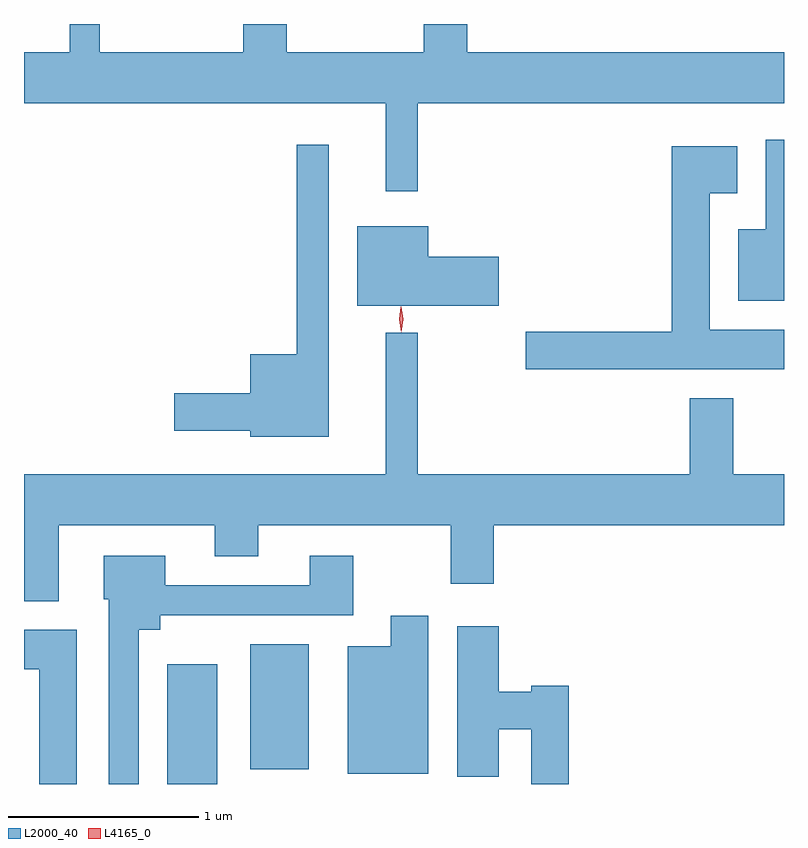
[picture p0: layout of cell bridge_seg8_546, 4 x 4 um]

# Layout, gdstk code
import gdstk
lib = gdstk.Library(unit=1e-6, precision=1e-09)
def R(c, l, rs):  # rectangles x0, y0, x1, y1
    for r in rs: c.add(gdstk.rectangle(r[:2], r[2:], *l))
def P(c, l, *ps):  # polygons
    for p in ps: c.add(gdstk.Polygon(p, *l))
L2000_40 = (2000, 40)
L4165_0 = (4165, 0)

bridge_seg8_546 = lib.new_cell('bridge_seg8_546')
R(bridge_seg8_546, L2000_40, [(562.291,1868.353,562.554,1868.984), (562.726,1868.431,563.034,1869.089)])
P(bridge_seg8_546, L2000_40, [(563.609,1871.936),(565.536,1871.936),(565.536,1872.204),(563.869,1872.204),(563.869,1872.353),(563.641,1872.353),(563.641,1872.204),(562.919,1872.204),(562.919,1872.353),(562.691,1872.353),(562.691,1872.204),(561.934,1872.204),(561.934,1872.353),(561.776,1872.353),(561.776,1872.204),(561.536,1872.204),(561.536,1871.936),(563.441,1871.936),(563.441,1871.473),(563.609,1871.473)],
  [(565.536,1871.744),(565.441,1871.744),(565.441,1871.274),(565.296,1871.274),(565.296,1870.896),(565.536,1870.896)],
  [(563.139,1871.718),(562.971,1871.718),(562.971,1870.614),(562.726,1870.614),(562.726,1870.409),(562.326,1870.409),(562.326,1870.211),(562.726,1870.211),(562.726,1870.181),(563.139,1870.181)],
  [(565.536,1870.744),(565.144,1870.744),(565.144,1871.461),(565.289,1871.461),(565.289,1871.709),(564.946,1871.709),(564.946,1870.734),(564.176,1870.734),(564.176,1870.536),(565.536,1870.536)],
  [(564.034,1871.129),(563.664,1871.129),(563.664,1871.289),(563.291,1871.289),(563.291,1870.871),(564.034,1870.871)],
  [(561.719,1869.716),(562.541,1869.716),(562.541,1869.551),(562.769,1869.551),(562.769,1869.716),(563.781,1869.716),(563.781,1869.406),(564.009,1869.406),(564.009,1869.716),(565.536,1869.716),(565.536,1869.984),(565.269,1869.984),(565.269,1870.384),(565.041,1870.384),(565.041,1869.984),(563.609,1869.984),(563.609,1870.728),(563.441,1870.728),(563.441,1869.984),(561.536,1869.984),(561.536,1869.316),(561.719,1869.316)],
  [(562.139,1869.166),(562.254,1869.166),(562.254,1869.241),(563.269,1869.241),(563.269,1869.554),(563.041,1869.554),(563.041,1869.399),(562.279,1869.399),(562.279,1869.554),(561.956,1869.554),(561.956,1869.326),(561.981,1869.326),(561.981,1868.353),(562.139,1868.353)],
  [(563.664,1869.239),(563.466,1869.239),(563.466,1869.079),(563.241,1869.079),(563.241,1868.406),(563.664,1868.406)],
  [(564.404,1868.869),(564.206,1868.869),(564.206,1868.839),(564.034,1868.839),(564.034,1869.184),(563.816,1869.184),(563.816,1868.391),(564.034,1868.391),(564.034,1868.641),(564.206,1868.641),(564.206,1868.353),(564.404,1868.353)],
  [(561.814,1869.164),(561.536,1869.164),(561.536,1868.956),(561.616,1868.956),(561.616,1868.353),(561.814,1868.353)])
P(bridge_seg8_546, L4165_0, [(563.521,1870.733),(563.511,1870.796),(563.52,1870.859),(563.521,1870.86),(563.521,1870.859),(563.531,1870.796),(563.522,1870.733),(563.522,1870.733)],
  [(563.521,1870.73),(563.511,1870.798),(563.52,1870.866),(563.521,1870.866),(563.521,1870.866),(563.531,1870.798),(563.522,1870.73),(563.522,1870.73)])

lib.write_gds('bridge_seg8_546.gds')
